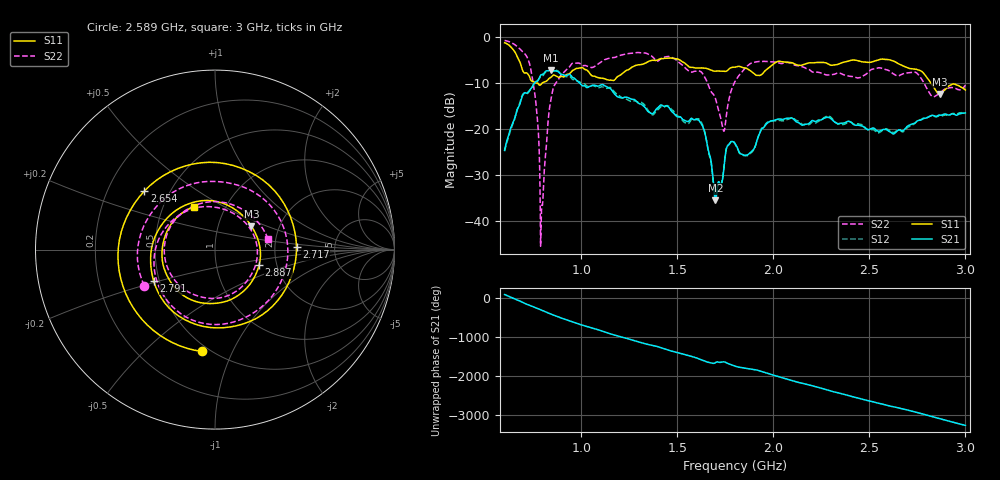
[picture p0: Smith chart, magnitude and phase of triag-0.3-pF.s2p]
#  HZ  S  RI  R  50.00
! Rohde & Schwarz ZVB8 2Ports - Version 2.81 - 1145.1010k08 SN: 100113
! Date: 2016-03-12 00:35:51
! Measurements: S11 S21 S12 S22
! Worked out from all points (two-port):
!   1000 points, 600 MHz to 3 GHz, reference 50 ohm
!   highest |S21| = -7.18 dB at 840.2 MHz (marker M1); lowest = -35.4 dB at 1.698 GHz (marker M2)
!   |S21| within 3 dB of the highest: 752.1 MHz to 995.1 MHz (242.9 MHz wide, 27.8 % of centre)
!   lowest |S11| = -12.3 dB at 2.865 GHz (marker M3), VSWR 1.64, Z = 72.2 + j20.1 ohm
!   |S11| at or under -10 dB: 765.1235 MHz to 765.9426 MHz (819.2 kHz wide, 0.107 % of centre); 772.9 MHz to 795.5 MHz (22.63 MHz wide, 2.89 % of centre); 2.821 GHz to end of sweep
!   |S22| runs from -45.4 to -0.7 dB; largest |S21 - S12| = 0.023
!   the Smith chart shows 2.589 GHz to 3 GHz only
!   S11 on the Smith chart (normalised r, x): 2.589 GHz: 0.46, -0.77; 2.654 GHz: 0.36, +0.32; 2.717 GHz: 2.66, +0.10; 2.791 GHz: 0.47, -0.19; 2.887 GHz: 1.62, -0.30; 3 GHz: 0.71, +0.36
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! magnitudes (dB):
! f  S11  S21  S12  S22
! 600 MHz  -1.2  -24.6  -24.8  -0.7
! 732.1 MHz  -8.9  -11.4  -11.5  -6.1
! 765.8 MHz  -10.0  -9.6  -9.7  -15.5
! 794.6 MHz  -10.0  -8.1  -8.5  -36.5
! 840.2 MHz  -8.8  -7.2  -7.0  -13.8
! 1.001 GHz  -6.6  -10.4  -10.0  -6.1
! 1.162 GHz  -9.4  -11.7  -11.4  -4.4
! 1.4 GHz  -4.9  -15.3  -15.7  -5.2
! 1.621 GHz  -6.7  -18.6  -18.3  -7.5
! 1.698 GHz  -7.4  -35.4  -35.7  -13.3
! 1.741 GHz  -7.4  -28.9  -28.7  -20.4
! 1.801 GHz  -6.5  -23.2  -23.3  -9.6
! 1.921 GHz  -8.3  -21.6  -21.6  -5.3
! 2.2 GHz  -5.6  -18.2  -18.5  -7.5
! 2.589 GHz  -4.9  -20.1  -19.9  -7.1
! 2.601 GHz  -4.9  -20.5  -20.2  -7.3
! 2.654 GHz  -5.8  -20.1  -20.1  -8.4
! 2.717 GHz  -6.8  -19.0  -19.2  -7.7
! 2.791 GHz  -8.3  -17.6  -17.5  -10.5
! 2.865 GHz  -12.3  -16.9  -17.1  -12.2
! 2.887 GHz  -11.7  -16.8  -17.0  -11.4
! 3 GHz  -11.5  -16.5  -16.6  -10.4
